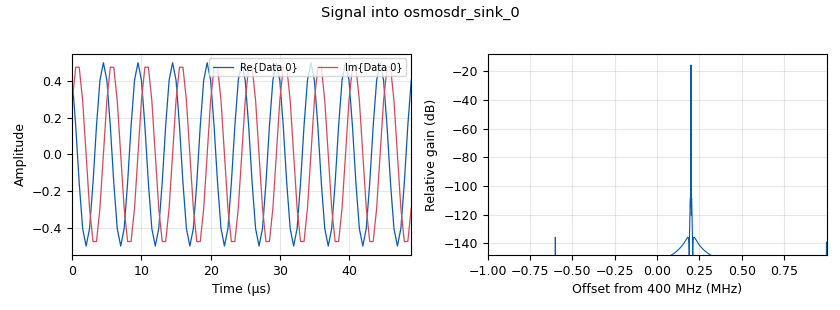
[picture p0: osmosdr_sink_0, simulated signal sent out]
options:
  parameters:
    description: 'EXP-10: espuria de LO-937 kHz. Correccion aditiva (e) para la replica de la fuga y multiplicativa (d) para la replica del tono, mas la correccion de imagen del EXP-09'
    generate_options: qt_gui
    id: exp10_cancelacion_espuria
    output_language: python
    title: EXP-10 cancelacion de la espuria de -937 kHz
  states: {}

blocks:
- name: amp
  id: variable_qtgui_chooser
  parameters:
    gui_hint: 1,0,1,1
    label: Amplitud digital
    labels: '[''0.1'', ''0.2'', ''0.3'', ''0.4'', ''0.5'', ''0.6'', ''0.7'']'
    num_opts: '0'
    options: '[0.1, 0.2, 0.3, 0.4, 0.5, 0.6, 0.7]'
    type: raw
    value: '0.5'
  states: {}
- name: c
  id: variable
  parameters:
    comment: |-
      Correccion de imagen:
      se suma c*conj(x)
    value: img_on * 10**(k_db/20) * np.exp(1j*np.deg2rad(phi_deg))
  states: {}
- name: d_db
  id: variable_qtgui_range
  parameters:
    gui_hint: 5,1,1,1
    label: 'd: nivel (dB respecto del tono)'
    min_len: '250'
    start: '-70'
    step: '0.1'
    stop: '-30'
    value: '-52'
  states: {}
- name: d_on
  id: variable_qtgui_chooser
  parameters:
    gui_hint: 5,0,1,1
    label: Cancelacion replica del tono (d)
    label0: Apagada
    label1: Encendida
    num_opts: '2'
    option0: '0'
    option1: '1'
    orient: Qt.QHBoxLayout
    type: real
    value: '0'
    widget: radio_buttons
  states: {}
- name: d_phi
  id: variable_qtgui_range
  parameters:
    gui_hint: 5,2,1,2
    label: 'd: fase (grados)'
    min_len: '250'
    start: '-180'
    step: '0.5'
    stop: '180'
    value: '0'
  states: {}
- name: dcoef
  id: variable
  parameters:
    comment: |-
      Contra-modulacion:
      se suma d*x*exp(j*2*pi*f_esp*t)
    value: d_on * 10**(d_db/20) * np.exp(1j*np.deg2rad(d_phi))
  states: {}
- name: e_db
  id: variable_qtgui_range
  parameters:
    gui_hint: 4,1,1,1
    label: 'e: nivel (dBFS)'
    min_len: '250'
    start: '-90'
    step: '0.1'
    stop: '-30'
    value: '-59'
  states: {}
- name: e_on
  id: variable_qtgui_chooser
  parameters:
    gui_hint: 4,0,1,1
    label: Cancelacion replica de la fuga (e)
    label0: Apagada
    label1: Encendida
    num_opts: '2'
    option0: '0'
    option1: '1'
    orient: Qt.QHBoxLayout
    type: real
    value: '0'
    widget: radio_buttons
  states: {}
- name: e_phi
  id: variable_qtgui_range
  parameters:
    gui_hint: 4,2,1,2
    label: 'e: fase (grados)'
    min_len: '250'
    start: '-180'
    step: '0.5'
    stop: '180'
    value: '0'
  states: {}
- name: ecoef
  id: variable
  parameters:
    comment: |-
      Tono aditivo en f_esp:
      cancela la replica de la fuga
    value: e_on * 10**(e_db/20) * np.exp(1j*np.deg2rad(e_phi))
  states: {}
- name: esp_fino_hz
  id: variable_qtgui_range
  parameters:
    gui_hint: 3,2,1,2
    label: 'Espuria: ajuste fino (Hz)'
    min_len: '250'
    start: '-50'
    step: '0.01'
    stop: '50'
    value: '0'
  states: {}
- name: esp_grueso_khz
  id: variable_qtgui_range
  parameters:
    gui_hint: 3,0,1,2
    label: 'Espuria: corrimiento grueso (kHz)'
    min_len: '250'
    start: '-945'
    step: '0.01'
    stop: '-930'
    value: '-937.2'
  states: {}
- name: f_esp
  id: variable
  parameters:
    comment: |-
      Corrimiento de la espuria
      respecto del oscilador
    value: esp_grueso_khz*1e3 + esp_fino_hz
  states: {}
- name: f_esp_fuga
  id: variable_qtgui_label
  parameters:
    gui_hint: 7,0,1,1
    label: Replica de la fuga (MHz)
    type: real
    value: (freq + f_esp) / 1e6
  states: {}
- name: f_esp_hz
  id: variable_qtgui_label
  parameters:
    gui_hint: 1,3,1,1
    label: Corrimiento de la espuria aplicado (Hz)
    type: real
    value: f_esp
  states: {}
- name: f_esp_tono
  id: variable_qtgui_label
  parameters:
    gui_hint: 7,1,1,1
    label: Replica del tono (MHz)
    type: real
    value: (freq + tone_freq + f_esp) / 1e6
  states: {}
- name: f_fuga
  id: variable_qtgui_label
  parameters:
    gui_hint: 6,2,1,1
    label: Fuga de portadora (MHz)
    type: real
    value: freq / 1e6
  states: {}
- name: f_gem_fuga
  id: variable_qtgui_label
  parameters:
    gui_hint: 7,2,1,1
    label: Gemela de la fuga (MHz)
    type: real
    value: (freq - f_esp) / 1e6
  states: {}
- name: f_gem_tono
  id: variable_qtgui_label
  parameters:
    gui_hint: 7,3,1,1
    label: Gemela del tono (MHz)
    type: real
    value: (freq + tone_freq - f_esp) / 1e6
  states: {}
- name: f_imagen
  id: variable_qtgui_label
  parameters:
    gui_hint: 6,1,1,1
    label: Imagen (MHz)
    type: real
    value: (freq - tone_freq) / 1e6
  states: {}
- name: f_tono
  id: variable_qtgui_label
  parameters:
    gui_hint: 6,0,1,1
    label: Tono (MHz)
    type: real
    value: (freq + tone_freq) / 1e6
  states: {}
- name: freq
  id: variable_qtgui_chooser
  parameters:
    gui_hint: 0,0,1,1
    label: Portadora
    label0: 400 MHz
    label1: 600 MHz
    num_opts: '2'
    option0: 400e6
    option1: 600e6
    orient: Qt.QHBoxLayout
    type: real
    value: 400e6
    widget: radio_buttons
  states: {}
- name: img_on
  id: variable_qtgui_chooser
  parameters:
    gui_hint: 2,0,1,1
    label: Correccion de imagen (EXP-09)
    label0: Apagada
    label1: Encendida
    num_opts: '2'
    option0: '0'
    option1: '1'
    orient: Qt.QHBoxLayout
    type: real
    value: '0'
    widget: radio_buttons
  states: {}
- name: k_db
  id: variable_qtgui_range
  parameters:
    gui_hint: 2,1,1,1
    label: 'Imagen: nivel |c| (dB)'
    min_len: '250'
    start: '-50'
    step: '0.1'
    stop: '-20'
    value: '-34.5'
  states: {}
- name: phi_deg
  id: variable_qtgui_range
  parameters:
    gui_hint: 2,2,1,2
    label: 'Imagen: fase de c (grados)'
    min_len: '250'
    start: '-180'
    step: '0.5'
    stop: '180'
    value: '15'
  states: {}
- name: pico_bb
  id: variable_qtgui_label
  parameters:
    gui_hint: 1,2,1,1
    label: Pico de banda base (debe ser < 1)
    type: real
    value: amp*tono_on*(1 + img_on*10**(k_db/20))*(1 + d_on*10**(d_db/20)) + e_on*10**(e_db/20)
  states: {}
- name: samp_rate
  id: variable_qtgui_chooser
  parameters:
    gui_hint: 0,3,1,1
    label: Tasa de muestreo
    label0: 2 MSPS
    label1: 4 MSPS
    num_opts: '2'
    option0: 2e6
    option1: 4e6
    orient: Qt.QHBoxLayout
    type: real
    value: 2e6
    widget: radio_buttons
  states: {}
- name: tone_freq
  id: variable_qtgui_chooser
  parameters:
    gui_hint: 0,1,1,1
    label: Tono de banda base
    label0: 200 kHz
    label1: 600 kHz
    num_opts: '2'
    option0: 200e3
    option1: 600e3
    orient: Qt.QHBoxLayout
    type: real
    value: 200e3
    widget: radio_buttons
  states: {}
- name: tono_on
  id: variable_qtgui_chooser
  parameters:
    gui_hint: 1,1,1,1
    label: Tono principal
    label0: Apagado
    label1: Encendido
    num_opts: '2'
    option0: '0'
    option1: '1'
    orient: Qt.QHBoxLayout
    type: real
    value: '1'
    widget: radio_buttons
  states: {}
- name: tx_gain
  id: variable_qtgui_chooser
  parameters:
    gui_hint: 0,2,1,1
    label: Ganancia TX (dB)
    label0: '17'
    label1: '20'
    label2: '25'
    label3: '30'
    num_opts: '4'
    option0: '17'
    option1: '20'
    option2: '25'
    option3: '30'
    orient: Qt.QHBoxLayout
    type: real
    value: '17'
    widget: radio_buttons
  states: {}
- name: analog_sig_source_esp
  id: analog_sig_source_x
  parameters:
    amp: '1'
    freq: f_esp
    offset: '0'
    phase: '0'
    samp_rate: samp_rate
    type: complex
    waveform: analog.GR_COS_WAVE
  states: {}
- name: analog_sig_source_x_0
  id: analog_sig_source_x
  parameters:
    amp: amp * tono_on
    freq: tone_freq
    offset: '0'
    phase: '0'
    samp_rate: samp_rate
    type: complex
    waveform: analog.GR_COS_WAVE
  states: {}
- name: blocks_add_final
  id: blocks_add_xx
  parameters:
    num_inputs: '3'
    type: complex
  states: {}
- name: blocks_add_img
  id: blocks_add_xx
  parameters:
    type: complex
  states: {}
- name: blocks_conjugate_cc_0
  id: blocks_conjugate_cc
  parameters: {}
  states: {}
- name: blocks_multiply_const_d
  id: blocks_multiply_const_vxx
  parameters:
    const: dcoef
    type: complex
  states: {}
- name: blocks_multiply_const_e
  id: blocks_multiply_const_vxx
  parameters:
    const: ecoef
    type: complex
  states: {}
- name: blocks_multiply_const_img
  id: blocks_multiply_const_vxx
  parameters:
    const: c
    type: complex
  states: {}
- name: blocks_multiply_esp
  id: blocks_multiply_xx
  parameters:
    type: complex
  states: {}
- name: import_0
  id: import
  parameters:
    imports: import numpy as np
  states: {}
- name: osmosdr_sink_0
  id: osmosdr_sink
  parameters:
    args: bladerf=0
    bb_gain0: '0'
    bw0: 0.75 * samp_rate
    freq0: freq
    gain0: tx_gain
    if_gain0: '0'
    sample_rate: samp_rate
    sync: sync
    type: fc32
  states: {}

connections:
- [analog_sig_source_esp, '0', blocks_multiply_const_e, '0']
- [analog_sig_source_esp, '0', blocks_multiply_esp, '1']
- [analog_sig_source_x_0, '0', blocks_add_img, '0']
- [analog_sig_source_x_0, '0', blocks_conjugate_cc_0, '0']
- [analog_sig_source_x_0, '0', blocks_multiply_esp, '0']
- [blocks_add_final, '0', osmosdr_sink_0, '0']
- [blocks_add_img, '0', blocks_add_final, '0']
- [blocks_conjugate_cc_0, '0', blocks_multiply_const_img, '0']
- [blocks_multiply_const_d, '0', blocks_add_final, '1']
- [blocks_multiply_const_e, '0', blocks_add_final, '2']
- [blocks_multiply_const_img, '0', blocks_add_img, '1']
- [blocks_multiply_esp, '0', blocks_multiply_const_d, '0']

metadata:
  file_format: 1
  grc_version: 3.10.12.0
